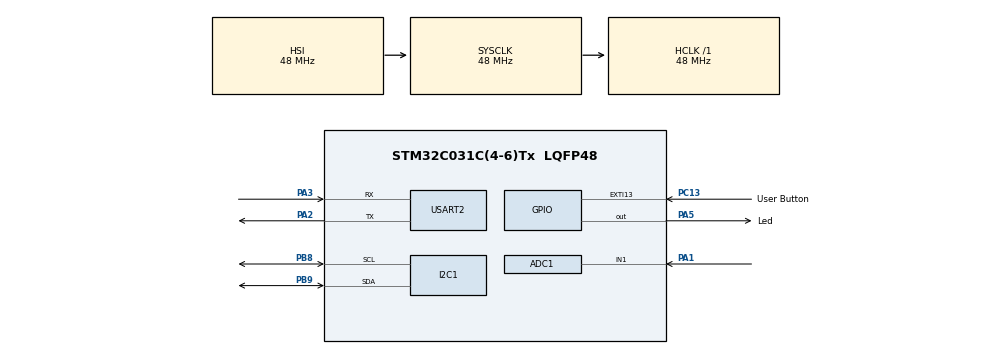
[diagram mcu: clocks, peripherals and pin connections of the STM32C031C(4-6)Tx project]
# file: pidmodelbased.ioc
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ADC1.Channel-0\#ChannelRegularConversion=ADC_CHANNEL_1
ADC1.NbrOfConversionFlag=1
ADC1.Rank-0\#ChannelRegularConversion=1
ADC1.SamplingTime-0\#ChannelRegularConversion=ADC_SAMPLINGTIME_COMMON_1
ADC1.SelectedChannel=ADC_CHANNEL_1
ADC1.master=1
I2C1.Timing=0x20303E5D
Mcu.Family=STM32C0
Mcu.Name=STM32C031C(4-6)Tx
Mcu.Package=LQFP48
NVIC.EXTI4_15_IRQn=true\:0\:0\:false\:false\:true\:true\:true\:true
PA1.Mode=IN1
PA1.Signal=ADC1_IN1
PA13.Mode=Serial_Wire
PA13.Signal=DEBUG_SWDIO
PA14-BOOT0.Mode=Serial_Wire
PA14-BOOT0.Signal=DEBUG_SWCLK
PA2.Mode=Asynchronous
PA2.Signal=USART2_TX
PA3.Mode=Asynchronous
PA3.Signal=USART2_RX
PA5.GPIO_Label=Led
PA5.GPIO_Speed=GPIO_SPEED_FREQ_VERY_HIGH
PA5.PinState=GPIO_PIN_SET
PA5.Signal=GPIO_Output
PB8.Mode=I2C
PB8.Signal=I2C1_SCL
PB9.Mode=I2C
PB9.Signal=I2C1_SDA
PC13.GPIO_Label=User Button
PC13.Signal=GPXTI13
PC14-OSCX_IN\ (PC14).Mode=LSE-External-Oscillator
PC14-OSCX_IN\ (PC14).Signal=RCC_OSCX_IN
PC15-OSCX_OUT\ (PC15).Mode=LSE-External-Oscillator
PC15-OSCX_OUT\ (PC15).Signal=RCC_OSCX_OUT
PF0-OSC_IN\ (PF0).Mode=HSE-External-Oscillator
PF0-OSC_IN\ (PF0).Signal=RCC_OSC_IN
PF1-OSC_OUT\ (PF1).Mode=HSE-External-Oscillator
PF1-OSC_OUT\ (PF1).Signal=RCC_OSC_OUT
ProjectManager.HeapSize=0x200
ProjectManager.StackSize=0x400
ProjectManager.TargetToolchain=Makefile
RCC.ADCFreq_Value=48000000
RCC.AHBFreq_Value=48000000
RCC.CortexFreq_Value=48000000
RCC.EXTERNAL_CLOCK_VALUE=12288000
RCC.HCLKFreq_Value=48000000
RCC.HSE_VALUE=48000000
RCC.HSISYSCLKDivider=RCC_HSI_DIV1
RCC.HSI_VALUE=48000000
RCC.SYSCLKFreq_VALUE=48000000
USART2.VirtualMode-Asynchronous=VM_ASYNC
board=NUCLEO-C031C6

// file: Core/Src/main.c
/* USER CODE BEGIN Header */
/**
  ******************************************************************************
  * @file           : main.c
  * @brief          : Main program body
  ******************************************************************************
  * @attention
  *
  * Copyright (c) 2023 STMicroelectronics.
  * All rights reserved.
  *
  * This software is licensed under terms that can be found in the LICENSE file
  * in the root directory of this software component.
  * If no LICENSE file comes with this software, it is provided AS-IS.
  *
  ******************************************************************************
  */
/* USER CODE END Header */
#include "main.h"

/* USER CODE BEGIN Includes */

#include <string.h>
#include <stdio.h>
#include <stdlib.h>

/* USER CODE END Includes */

/* USER CODE BEGIN PTD */
typedef struct {
    float K, tau, Ts;
    float y_prev, u_prev;
} Plant_t;

typedef struct {
    float Kp, Ki, Kd;
    float integral, prev_error;
} PID_t;
/* USER CODE END PTD */

/* USER CODE BEGIN PD */
#define ACTUATOR_VMAX 24.0f
/* USER CODE END PD */

ADC_HandleTypeDef hadc1;

I2C_HandleTypeDef hi2c1;

UART_HandleTypeDef huart2;

/* USER CODE BEGIN PV */
Plant_t motor_plant;
PID_t speed_pid;
/* USER CODE END PV */

void SystemClock_Config(void);
static void MX_GPIO_Init(void);
static void MX_I2C1_Init(void);
static void MX_USART2_UART_Init(void);
static void MX_ADC1_Init(void);
/* USER CODE BEGIN PFP */

float Plant_Update(Plant_t *p, float u);
float PID_Compute(PID_t *pid, float error, float Ts);

/* USER CODE END PFP */

int main(void)
{

  /* MCU Configuration--------------------------------------------------------*/

  /* Reset of all peripherals, Initializes the Flash interface and the Systick. */
  HAL_Init();

  /* Configure the system clock */
  SystemClock_Config();

  /* Initialize all configured peripherals */
  MX_GPIO_Init();
  MX_I2C1_Init();
  MX_USART2_UART_Init();
  MX_ADC1_Init();
  /* USER CODE BEGIN 2 */

  char msg[] = "Hello, Wokwi!\r\n";
  HAL_UART_Transmit(&huart2, (uint8_t*)msg, strlen(msg), HAL_MAX_DELAY);

  /* USER CODE END 2 */

  /* Infinite loop */
  /* USER CODE BEGIN WHILE */

  float omega_max = 100.0f;  // velocita' massima plausibile del motore simulato, in rad/s
  float setpoint = 0.0f;    // velocita' desiderata, in rad/s
  int32_t y_sensed_adc = 0; // valore raw dell'ADC, corrispondente alla velocita' misurata dal trasduttore
  uint16_t setpoint_adc = 0; // valore raw dell'ADC, corrispondente al setpoint
  int32_t error_adc = 0;     // errore tra setpoint e velocita' misurata, in valori raw dell'ADC
  float error = 0.0f;        // errore tra setpoint e velocita' misurata, in rad/s
  float y = 0.0f;           // velocita' simulata del motore, in rad/s
  float y_sensed = 0.0f;    // velocita' misurata dal trasduttore, in rad/s
  float u = 0.0f;           // comando di velocita' calcolato dal PID, in rad/s
  Plant_t motor_plant = {5.0f, 0.1f, 0.01f, 0.0f, 0.0f}; // K=1, tau=0.1s, Ts=0.01s, y_prev=0, u_prev=0
  PID_t speed_pid = {0.8f, 12.0f, 0.01f, 0.0f, 0.0f}; // Kp=0.5, Ki=0.1, Kd=0.01, integral=0, prev_error=0

  while (1)
  {
    /* USER CODE END WHILE */

    /* USER CODE BEGIN 3 */

    y = Plant_Update(&motor_plant, u); // Usiamo un plant fittizio per simulare il comportamento del motore (primo ordine, trascuriamo l'induttanza)

    // Ipotizziamo che il trasduttore della velocità angolare del motore sia H(s) = 1, guadagno unitario perfetto.
    y_sensed = y;

    // Simuliamo la lettura dell'ADC come un valore proporzionale alla velocità misurata
    y_sensed_adc = (y_sensed / omega_max) * 4095.0f;

    // Leggiamo da ADC il valore del setpoint desiderato, che è proporzionale alla tensione dal potenziometro
    HAL_ADC_Start(&hadc1);

    if (HAL_ADC_PollForConversion(&hadc1, 10) == HAL_OK)
    {
      setpoint_adc = HAL_ADC_GetValue(&hadc1);
      setpoint = (setpoint_adc / 4095.0f) * omega_max; // Convertiamo il valore raw dell'ADC in rad/s
    }

    HAL_ADC_Stop(&hadc1);

    error_adc = setpoint_adc - y_sensed_adc;

    error = (error_adc / 4095.0f) * omega_max; // Convertiamo l'errore in rad/s

    u = PID_Compute(&speed_pid, error, motor_plant.Ts);

    HAL_Delay((uint32_t)(motor_plant.Ts * 1000));  // forza Ts = 10ms per iterazione

    char msg[80];

    int sp_int = (int)(setpoint * 100);
    int y_int = (int)(y * 100);
    int u_int = (int)(u * 100);
    int err_int = (int)(error * 100);

    snprintf(msg, sizeof(msg), "SP:%d.%02d Y:%d.%02d U:%d.%02d ERR:%d.%02d\r\n",
         sp_int/100, abs(sp_int%100), y_int/100, abs(y_int%100),
         u_int/100, abs(u_int%100), err_int/100, abs(err_int%100));

    HAL_UART_Transmit(&huart2, (uint8_t*)msg, strlen(msg), HAL_MAX_DELAY);
  }
  /* USER CODE END 3 */
}

void SystemClock_Config(void)
{
  RCC_OscInitTypeDef RCC_OscInitStruct = {0};
  RCC_ClkInitTypeDef RCC_ClkInitStruct = {0};

  /** Initializes the RCC Oscillators according to the specified parameters
  * in the RCC_OscInitTypeDef structure.
  */
  RCC_OscInitStruct.OscillatorType = RCC_OSCILLATORTYPE_HSI;
  RCC_OscInitStruct.HSIState = RCC_HSI_ON;
  RCC_OscInitStruct.HSIDiv = RCC_HSI_DIV1;
  RCC_OscInitStruct.HSICalibrationValue = RCC_HSICALIBRATION_DEFAULT;
  if (HAL_RCC_OscConfig(&RCC_OscInitStruct) != HAL_OK)
  {
    Error_Handler();
  }

  /** Initializes the CPU, AHB and APB buses clocks
  */
  RCC_ClkInitStruct.ClockType = RCC_CLOCKTYPE_HCLK|RCC_CLOCKTYPE_SYSCLK
                              |RCC_CLOCKTYPE_PCLK1;
  RCC_ClkInitStruct.SYSCLKSource = RCC_SYSCLKSOURCE_HSI;
  RCC_ClkInitStruct.SYSCLKDivider = RCC_SYSCLK_DIV1;
  RCC_ClkInitStruct.AHBCLKDivider = RCC_HCLK_DIV1;
  RCC_ClkInitStruct.APB1CLKDivider = RCC_APB1_DIV1;

  if (HAL_RCC_ClockConfig(&RCC_ClkInitStruct, FLASH_LATENCY_1) != HAL_OK)
  {
    Error_Handler();
  }
}

static void MX_ADC1_Init(void)
{

  ADC_ChannelConfTypeDef sConfig = {0};

  /** Configure the global features of the ADC (Clock, Resolution, Data Alignment and number of conversion)
  */
  hadc1.Instance = ADC1;
  hadc1.Init.ClockPrescaler = ADC_CLOCK_SYNC_PCLK_DIV2;
  hadc1.Init.Resolution = ADC_RESOLUTION_12B;
  hadc1.Init.DataAlign = ADC_DATAALIGN_RIGHT;
  hadc1.Init.ScanConvMode = ADC_SCAN_DISABLE;
  hadc1.Init.EOCSelection = ADC_EOC_SINGLE_CONV;
  hadc1.Init.LowPowerAutoWait = DISABLE;
  hadc1.Init.LowPowerAutoPowerOff = DISABLE;
  hadc1.Init.ContinuousConvMode = DISABLE;
  hadc1.Init.NbrOfConversion = 1;
  hadc1.Init.DiscontinuousConvMode = DISABLE;
  hadc1.Init.ExternalTrigConv = ADC_SOFTWARE_START;
  hadc1.Init.ExternalTrigConvEdge = ADC_EXTERNALTRIGCONVEDGE_NONE;
  hadc1.Init.DMAContinuousRequests = DISABLE;
  hadc1.Init.Overrun = ADC_OVR_DATA_PRESERVED;
  hadc1.Init.SamplingTimeCommon1 = ADC_SAMPLETIME_1CYCLE_5;
  hadc1.Init.SamplingTimeCommon2 = ADC_SAMPLETIME_1CYCLE_5;
  hadc1.Init.OversamplingMode = DISABLE;
  hadc1.Init.TriggerFrequencyMode = ADC_TRIGGER_FREQ_HIGH;
  if (HAL_ADC_Init(&hadc1) != HAL_OK)
  {
    Error_Handler();
  }

  /** Configure Regular Channel
  */
  sConfig.Channel = ADC_CHANNEL_1;
  sConfig.Rank = ADC_REGULAR_RANK_1;
  sConfig.SamplingTime = ADC_SAMPLINGTIME_COMMON_1;
  if (HAL_ADC_ConfigChannel(&hadc1, &sConfig) != HAL_OK)
  {
    Error_Handler();
  }

}

static void MX_I2C1_Init(void)
{

  hi2c1.Instance = I2C1;
  hi2c1.Init.Timing = 0x20303E5D;
  hi2c1.Init.OwnAddress1 = 0;
  hi2c1.Init.AddressingMode = I2C_ADDRESSINGMODE_7BIT;
  hi2c1.Init.DualAddressMode = I2C_DUALADDRESS_DISABLE;
  hi2c1.Init.OwnAddress2 = 0;
  hi2c1.Init.OwnAddress2Masks = I2C_OA2_NOMASK;
  hi2c1.Init.GeneralCallMode = I2C_GENERALCALL_DISABLE;
  hi2c1.Init.NoStretchMode = I2C_NOSTRETCH_DISABLE;
  if (HAL_I2C_Init(&hi2c1) != HAL_OK)
  {
    Error_Handler();
  }

  /** Configure Analogue filter
  */
  if (HAL_I2CEx_ConfigAnalogFilter(&hi2c1, I2C_ANALOGFILTER_ENABLE) != HAL_OK)
  {
    Error_Handler();
  }

  /** Configure Digital filter
  */
  if (HAL_I2CEx_ConfigDigitalFilter(&hi2c1, 0) != HAL_OK)
  {
    Error_Handler();
  }

}

static void MX_USART2_UART_Init(void)
{

  huart2.Instance = USART2;
  huart2.Init.BaudRate = 115200;
  huart2.Init.WordLength = UART_WORDLENGTH_8B;
  huart2.Init.StopBits = UART_STOPBITS_1;
  huart2.Init.Parity = UART_PARITY_NONE;
  huart2.Init.Mode = UART_MODE_TX_RX;
  huart2.Init.HwFlowCtl = UART_HWCONTROL_NONE;
  huart2.Init.OverSampling = UART_OVERSAMPLING_16;
  huart2.Init.OneBitSampling = UART_ONE_BIT_SAMPLE_DISABLE;
  huart2.Init.ClockPrescaler = UART_PRESCALER_DIV1;
  huart2.AdvancedInit.AdvFeatureInit = UART_ADVFEATURE_NO_INIT;
  if (HAL_UART_Init(&huart2) != HAL_OK)
  {
    Error_Handler();
  }

}

static void MX_GPIO_Init(void)
{
  GPIO_InitTypeDef GPIO_InitStruct = {0};

  /* GPIO Ports Clock Enable */
  __HAL_RCC_GPIOC_CLK_ENABLE();
  __HAL_RCC_GPIOF_CLK_ENABLE();
  __HAL_RCC_GPIOA_CLK_ENABLE();
  __HAL_RCC_GPIOB_CLK_ENABLE();

  /*Configure GPIO pin Output Level */
  HAL_GPIO_WritePin(Led_GPIO_Port, Led_Pin, GPIO_PIN_SET);

  /*Configure GPIO pin : User_Button_Pin */
  GPIO_InitStruct.Pin = User_Button_Pin;
  GPIO_InitStruct.Mode = GPIO_MODE_IT_RISING;
  GPIO_InitStruct.Pull = GPIO_NOPULL;
  HAL_GPIO_Init(User_Button_GPIO_Port, &GPIO_InitStruct);

  /*Configure GPIO pin : Led_Pin */
  GPIO_InitStruct.Pin = Led_Pin;
  GPIO_InitStruct.Mode = GPIO_MODE_OUTPUT_PP;
  GPIO_InitStruct.Pull = GPIO_NOPULL;
  GPIO_InitStruct.Speed = GPIO_SPEED_FREQ_VERY_HIGH;
  HAL_GPIO_Init(Led_GPIO_Port, &GPIO_InitStruct);

  /* EXTI interrupt init*/
  HAL_NVIC_SetPriority(EXTI4_15_IRQn, 0, 0);
  HAL_NVIC_EnableIRQ(EXTI4_15_IRQn);

}

/* USER CODE BEGIN 4 */
float Plant_Update(Plant_t *p, float u) {
    float a = (2.0f * p->tau) / p->Ts;
    float y = (p->K * u + p->K * p->u_prev - (1.0f - a) * p->y_prev) / (a + 1.0f);

    p->y_prev = y;
    p->u_prev = u;
    return y;
}

float PID_Compute(PID_t *pid, float error, float Ts) {

    pid->integral += error * Ts;
    float derivative = (error - pid->prev_error) / Ts;

    float C_output = pid->Kp * error + pid->Ki * pid->integral + pid->Kd * derivative;

    if (C_output > ACTUATOR_VMAX) {
        C_output = ACTUATOR_VMAX;
    } else if (C_output < -ACTUATOR_VMAX) {
        C_output = -ACTUATOR_VMAX;
    }

    pid->prev_error = error;

    return C_output;
}
/* USER CODE END 4 */

void Error_Handler(void)
{
  __disable_irq();
  while (1)
  {
  }
}
